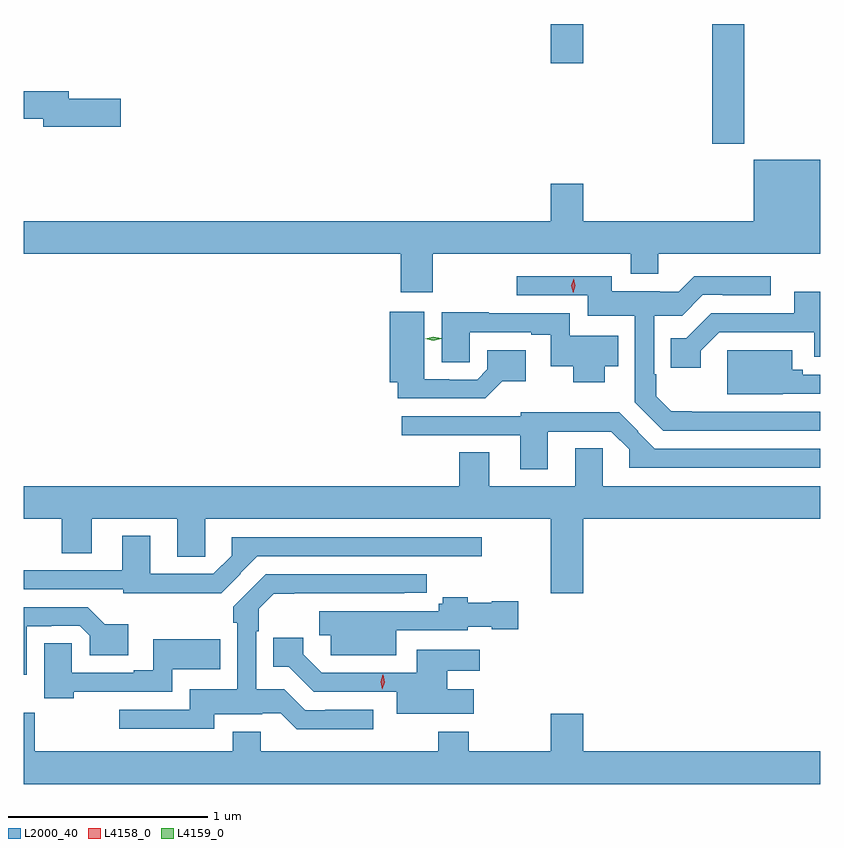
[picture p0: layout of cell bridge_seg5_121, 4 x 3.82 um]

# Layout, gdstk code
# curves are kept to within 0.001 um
import gdstk
lib = gdstk.Library(unit=1e-6, precision=1e-09)
def R(c, l, rs):  # rectangles x0, y0, x1, y1
    for r in rs: c.add(gdstk.rectangle(r[:2], r[2:], *l))
def P(c, l, *ps):  # polygons
    for p in ps: c.add(gdstk.Polygon(p, *l))
L2000_40 = (2000, 40)
L4158_0 = (4158, 0)
L4159_0 = (4159, 0)

bridge_seg5_121 = lib.new_cell('bridge_seg5_121')
R(bridge_seg5_121, L2000_40, [(465.521,843.993,465.681,844.595), (464.708,844.398,464.872,844.595)])
P(bridge_seg5_121, L2000_40, [(462.547,844.22),(462.286,844.22),(462.286,844.256),(462.062,844.256),(462.062,844.12),(462.158,844.12),(462.158,844.078),(462.547,844.078)],
  [(464.872,843.793),(464.708,843.793),(464.708,843.604),(462.062,843.604),(462.062,843.44),(463.955,843.44),(463.955,843.246),(464.115,843.246),(464.115,843.44),(465.11,843.44),(465.11,843.341),(465.25,843.341),(465.25,843.44),(466.062,843.44),(466.062,843.913),(465.728,843.913),(465.728,843.604),(464.872,843.604)],
  [(466.062,842.646),(465.418,842.646),(465.418,842.649),(465.314,842.649),(465.238,842.724),(465.238,842.836),(465.228,842.836),(465.228,843.129),(465.369,843.129),(465.474,843.234),(465.574,843.234),(465.574,843.231),(465.814,843.231),(465.814,843.328),(465.43,843.328),(465.351,843.249),(465.257,843.249),(465.257,843.253),(465.016,843.253),(465.016,843.327),(464.538,843.327),(464.538,843.231),(464.894,843.231),(464.894,843.128),(465.132,843.128),(465.131,842.694),(465.275,842.55),(466.062,842.55)],
  [(465.463,842.953),(465.555,843.045),(466.034,843.045),(466.034,842.924),(466.062,842.924),(466.062,843.25),(465.932,843.25),(465.932,843.141),(465.515,843.141),(465.39,843.016),(465.313,843.016),(465.313,842.868),(465.463,842.868)],
  [(464.466,842.801),(464.584,842.801),(464.584,842.956),(464.391,842.956),(464.391,842.859),(464.34,842.808),(464.198,842.808),(464.198,842.811),(464.074,842.811),(464.074,843.148),(463.901,843.148),(463.901,842.795),(463.94,842.795),(463.94,842.715),(464.38,842.715)],
  [(464.98,842.876),(465.047,842.876),(465.047,843.028),(464.805,843.028),(464.805,843.141),(464.398,843.141),(464.398,843.146),(464.162,843.146),(464.162,842.896),(464.301,842.896),(464.301,843.045),(464.612,843.045),(464.612,843.033),(464.709,843.033),(464.709,842.876),(464.822,842.876),(464.822,842.795),(464.98,842.795)],
  [(465.875,842.736),(466.062,842.736),(466.062,842.832),(465.975,842.832),(465.975,842.857),(465.922,842.857),(465.922,842.956),(465.596,842.956),(465.596,842.735),(465.875,842.735)],
  [(464.695,842.547),(465.012,842.547),(465.103,842.457),(465.103,842.364),(466.062,842.364),(466.062,842.46),(465.231,842.46),(465.146,842.545),(465.149,842.548),(465.053,842.644),(464.559,842.644),(464.559,842.625),(463.959,842.625),(463.959,842.529),(464.555,842.529),(464.555,842.358),(464.695,842.358)],
  [(462.062,842.108),(462.251,842.108),(462.251,841.936),(462.403,841.936),(462.403,842.108),(462.833,842.108),(462.833,841.918),(462.972,841.918),(462.972,842.108),(464.708,842.108),(464.708,841.734),(464.872,841.734),(464.872,842.108),(466.062,842.108),(466.062,842.272),(464.97,842.272),(464.97,842.462),(464.831,842.462),(464.831,842.272),(464.401,842.272),(464.401,842.444),(464.249,842.444),(464.249,842.272),(462.062,842.272)],
  [(463.151,841.832),(463.148,841.835),(463.233,841.92),(464.362,841.92),(464.362,842.016),(463.105,842.016),(463.105,841.924),(463.014,841.833),(462.697,841.833),(462.697,842.023),(462.557,842.023),(462.557,841.851),(462.062,841.851),(462.062,841.755),(462.561,841.755),(462.561,841.735),(463.053,841.735)],
  [(463.816,841.149),(463.576,841.149),(463.576,841.146),(463.476,841.146),(463.371,841.251),(463.23,841.251),(463.23,841.544),(463.241,841.544),(463.241,841.656),(463.316,841.732),(463.42,841.732),(463.42,841.734),(463.973,841.734),(463.973,841.736),(464.086,841.736),(464.086,841.83),(463.277,841.83),(463.114,841.667),(463.114,841.586),(463.134,841.586),(463.134,841.252),(462.896,841.252),(462.896,841.149),(462.54,841.149),(462.54,841.053),(463.018,841.053),(463.018,841.127),(463.259,841.127),(463.259,841.131),(463.353,841.131),(463.432,841.052),(463.816,841.052)],
  [(463.933,841.548),(464.292,841.548),(464.292,841.565),(464.412,841.565),(464.412,841.553),(464.545,841.553),(464.545,841.695),(464.412,841.695),(464.412,841.687),(464.292,841.687),(464.292,841.714),(464.166,841.714),(464.166,841.683),(464.147,841.683),(464.147,841.644),(463.829,841.644),(463.829,841.645),(463.545,841.645),(463.545,841.523),(463.604,841.523),(463.604,841.424),(463.933,841.424)],
  [(462.076,841.569),(462.2,841.569),(462.2,841.572),(462.342,841.572),(462.393,841.521),(462.393,841.424),(462.586,841.424),(462.586,841.579),(462.468,841.579),(462.382,841.665),(462.062,841.665),(462.062,841.326),(462.076,841.326)],
  [(464.323,841.252),(464.189,841.252),(464.189,841.346),(464.353,841.346),(464.353,841.45),(464.036,841.45),(464.036,841.335),(463.557,841.335),(463.465,841.427),(463.465,841.512),(463.315,841.512),(463.315,841.364),(463.392,841.364),(463.517,841.239),(463.934,841.239),(463.934,841.13),(464.323,841.13)],
  [(462.311,841.239),(462.807,841.239),(462.807,841.352),(463.049,841.352),(463.049,841.504),(462.711,841.504),(462.711,841.348),(462.614,841.348),(462.614,841.335),(462.303,841.335),(462.303,841.484),(462.164,841.484),(462.164,841.208),(462.311,841.208)],
  [(466.062,840.94),(464.872,840.94),(464.872,841.129),(464.708,841.129),(464.708,840.94),(464.298,840.94),(464.298,841.039),(464.143,841.039),(464.143,840.94),(463.252,840.94),(463.252,841.039),(463.112,841.039),(463.112,840.94),(462.117,840.94),(462.117,841.135),(462.062,841.135),(462.062,840.776),(466.062,840.776)])
P(bridge_seg5_121, L4158_0, [(464.821,843.244),(464.821,843.245),(464.813,843.28),(464.824,843.315),(464.824,843.315),(464.824,843.315),(464.833,843.279),(464.821,843.245)],
  [(463.863,841.252),(463.863,841.252),(463.855,841.289),(463.866,841.324),(463.866,841.324),(463.867,841.324),(463.875,841.288),(463.863,841.252)])
P(bridge_seg5_121, L4159_0, [(464.119,843.004),(464.078,843.014),(464.078,843.014),(464.078,843.014),(464.119,843.024),(464.159,843.015),(464.16,843.015),(464.159,843.014)])

lib.write_gds('bridge_seg5_121.gds')
